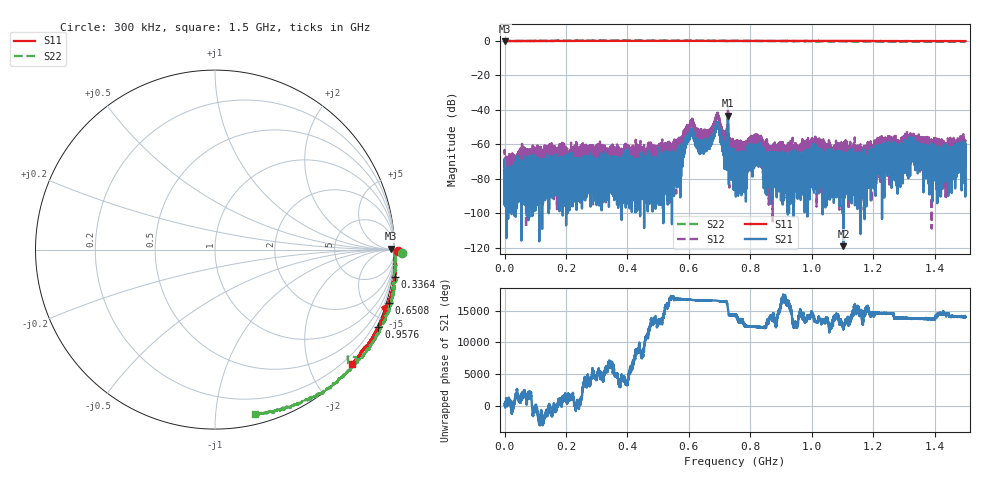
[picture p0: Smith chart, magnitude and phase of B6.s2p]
!Agilent Technologies,N5230C,SG49000117,A.08.50.07
!Agilent N5230C: A.08.50.07
!Date: Thursday, December 07, 2023 05:20:07
!Correction: S11(Full 2 Port(1,2))
!S21(Full 2 Port(1,2))
!S12(Full 2 Port(1,2))
!S22(Full 2 Port(1,2))
!S2P File: Measurements: S11, S21, S12, S22:
# Hz S  RI  R 50
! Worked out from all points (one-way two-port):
!   20001 points, 300 kHz to 1.5 GHz, reference 50 ohm
!   highest |S21| = -43.34 dB at 727.7 MHz (marker M1); lowest = -119.1 dB at 1.103 GHz (marker M2)
!   lowest |S11| = -0.2 dB at 749.9 kHz (marker M3), VSWR 91.70, Z = 4.31e+03 + j1.09e+03 ohm
!   |S11| at or under -10 dB: nowhere
!   |S22| runs from -0.6 to 0.3 dB; largest |S21 - S12| = 0.0066
!   S11 on the Smith chart (normalised r, x): 300 kHz: -90, -40; 336.4 MHz: -1, -13; 650.8 MHz: -0.28, -6.64; 957.6 MHz: -0.08, -4.45; 1.5 GHz: 0.02, -2.76
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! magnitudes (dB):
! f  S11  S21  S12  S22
! 300 kHz  0.2  -68.9  -65.2  0.3
! 749.9 kHz  -0.2  -87.7  -74.9  -0.6
! 8.098 MHz  0.0  -87.0  -81.7  0.0
! 250.3 MHz  0.1  -76.6  -70.0  0.2
! 336.4 MHz  0.1  -79.2  -67.6  0.2
! 500.2 MHz  0.1  -75.6  -72.0  0.2
! 553.5 MHz  0.1  -82.3  -62.5  0.2
! 608.8 MHz  0.1  -52.5  -47.0  0.1
! 650.8 MHz  0.1  -61.1  -52.0  0.1
! 692.6 MHz  0.1  -48.0  -43.0  0.0
! 727.7 MHz  -0.1  -43.3  -38.2  -0.4
! 750.1 MHz  0.1  -69.1  -63.9  0.1
! 829 MHz  0.1  -65.4  -58.0  0.0
! 855.2 MHz  0.1  -75.8  -64.0  0.0
! 957.6 MHz  0.1  -71.5  -67.7  0.0
! 1 GHz  0.1  -75.7  -60.7  0.0
! 1.103 GHz  0.0  -119.1  -66.9  -0.2
! 1.175 GHz  0.0  -75.5  -63.3  -0.2
! 1.25 GHz  0.0  -65.4  -60.0  -0.3
! 1.331 GHz  -0.1  -62.8  -61.0  -0.4
! 1.423 GHz  0.0  -65.5  -62.1  -0.4
! 1.5 GHz  0.0  -61.9  -61.8  -0.5
